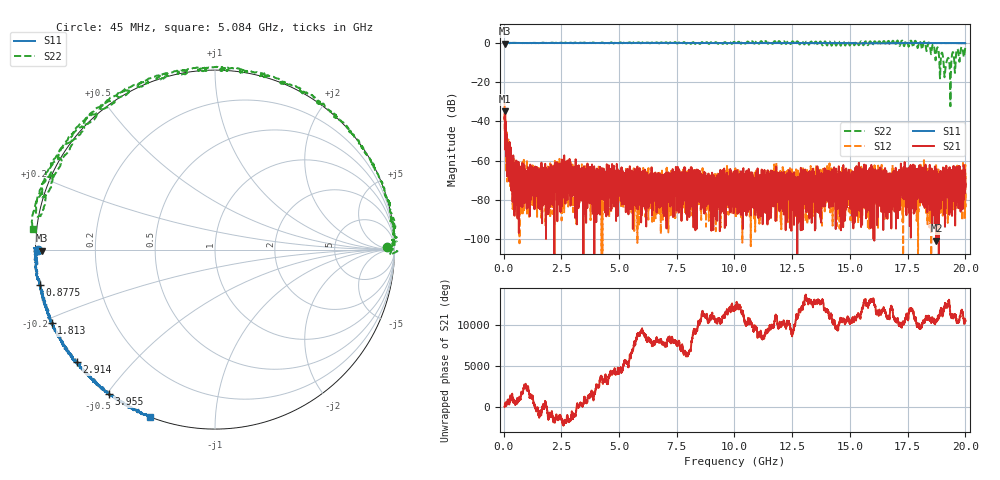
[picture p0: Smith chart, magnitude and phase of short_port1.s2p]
!Agilent Technologies,E8364A,US41440322,A.04.87.01
!Agilent E8364A: A.04.87.01
!Date: Tuesday, July 16, 2024 12:10:31
!Correction: S11(Full 2 Port SOLT,1,2) S21(Full 2 Port SOLT,1,2) S12(Full 2 Port SOLT,1,2) S22(Full 2 Port SOLT,1,2)
!S2P File: Measurements: S11, S21, S12, S22:
# Hz S  dB  R 50
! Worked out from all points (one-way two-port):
!   6401 points, 45 MHz to 20 GHz, reference 50 ohm
!   highest |S21| = -34.82 dB at 57.47 MHz (marker M1); lowest = -100.7 dB at 18.74 GHz (marker M2)
!   lowest |S11| = -0.3 dB at 60.59 MHz (marker M3), VSWR 58.49, Z = 0.855 - j0.167 ohm
!   |S11| at or under -10 dB: nowhere
!   |S22| runs from -32.2 to 1.3 dB; largest |S21 - S12| = 0.036
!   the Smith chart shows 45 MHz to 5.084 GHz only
!   S11 on the Smith chart (normalised r, x): 45 MHz: 0.01, -0.00; 877.5 MHz: 0.00, -0.10; 1.813 GHz: 0.00, -0.21; 2.914 GHz: 0.00, -0.36; 3.955 GHz: 0.00, -0.51; 5.084 GHz: -0.00, -0.68
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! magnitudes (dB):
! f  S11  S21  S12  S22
! 45 MHz  -0.1  -39.1  -30.6  -0.4
! 57.47 MHz  -0.3  -34.8  -41.4  -0.2
! 60.59 MHz  -0.3  -53.7  -36.2  0.0
! 182.2 MHz  0.0  -54.8  -65.4  0.1
! 328.7 MHz  0.0  -64.7  -63.5  0.0
! 528.3 MHz  0.0  -66.0  -63.8  0.0
! 727.8 MHz  0.0  -63.7  -77.0  0.0
! 877.5 MHz  0.0  -74.4  -59.6  0.0
! 1.813 GHz  0.0  -63.4  -66.0  0.0
! 2.914 GHz  -0.1  -74.9  -71.5  0.1
! 3.372 GHz  -0.1  -70.8  -74.2  0.0
! 3.955 GHz  0.0  -72.8  -70.8  0.0
! 5.084 GHz  0.0  -74.2  -68.9  0.2
! 6.699 GHz  0.0  -71.4  -86.6  0.0
! 7.431 GHz  0.0  -75.3  -89.0  0.4
! 10.02 GHz  0.0  -77.8  -72.8  0.3
! 13.35 GHz  -0.1  -65.3  -67.9  0.6
! 16.68 GHz  -0.2  -80.8  -74.6  1.0
! 17.39 GHz  -0.1  -64.4  -66.8  -0.1
! 18.74 GHz  -0.1  -100.7  -74.4  -4.9
! 19.29 GHz  -0.1  -74.3  -65.4  -8.8
! 20 GHz  -0.2  -72.0  -67.9  -2.0
